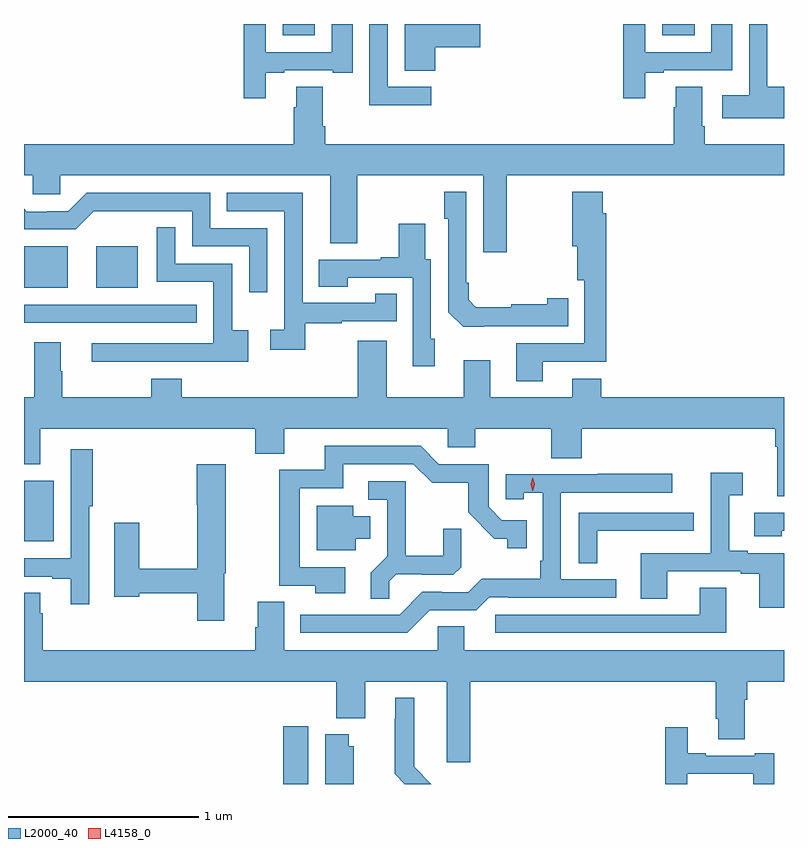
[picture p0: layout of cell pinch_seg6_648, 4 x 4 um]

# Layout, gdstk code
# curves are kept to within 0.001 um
import gdstk
lib = gdstk.Library(unit=1e-6, precision=1e-09)
def R(c, l, rs):  # rectangles x0, y0, x1, y1
    for r in rs: c.add(gdstk.rectangle(r[:2], r[2:], *l))
def P(c, l, *ps):  # polygons
    for p in ps: c.add(gdstk.Polygon(p, *l))
L2000_40 = (2000, 40)
L4158_0 = (4158, 0)

pinch_seg6_648 = lib.new_cell('pinch_seg6_648')
R(pinch_seg6_648, L2000_40, [(491.48,940.137,491.611,940.441), (490.116,941.414,490.273,941.734), (490.116,942.749,490.345,942.967), (490.496,942.749,490.714,942.967), (491.477,944.078,491.647,944.137), (493.475,944.078,493.645,944.137)])
P(pinch_seg6_648, L2000_40, [(494.116,943.806),(494.028,943.806),(494.028,944.137),(493.932,944.137),(493.932,943.762),(493.791,943.762),(493.791,943.64),(494.116,943.64)],
  [(492.281,944.015),(492.517,944.015),(492.517,944.137),(492.119,944.137),(492.119,943.891),(492.281,943.891)],
  [(493.387,943.881),(493.483,943.881),(493.483,943.893),(493.843,943.893),(493.843,944.137),(493.733,944.137),(493.733,943.989),(493.386,943.989),(493.386,944.137),(493.27,944.137),(493.27,943.746),(493.387,943.746)],
  [(491.389,943.881),(491.485,943.881),(491.485,943.893),(491.741,943.893),(491.741,943.881),(491.845,943.881),(491.845,944.137),(491.735,944.137),(491.735,943.989),(491.388,943.989),(491.388,944.137),(491.272,944.137),(491.272,943.746),(491.389,943.746)],
  [(492.259,943.806),(492.03,943.806),(492.03,944.137),(491.934,944.137),(491.934,943.709),(492.259,943.709)],
  [(492.657,943.34),(494.116,943.34),(494.116,943.504),(493.7,943.504),(493.7,943.6),(493.687,943.6),(493.687,943.808),(493.547,943.808),(493.547,943.7),(493.535,943.7),(493.535,943.504),(491.702,943.504),(491.702,943.6),(491.689,943.6),(491.689,943.808),(491.549,943.808),(491.549,943.7),(491.537,943.7),(491.537,943.504),(490.116,943.504),(490.116,943.34),(490.163,943.34),(490.163,943.242),(490.308,943.242),(490.308,943.34),(491.729,943.34),(491.729,942.982),(491.869,942.982),(491.869,943.34),(492.533,943.34),(492.533,942.936),(492.657,942.936)],
  [(492.847,942.36),(493.181,942.36),(493.181,943.142),(493.162,943.142),(493.162,943.255),(493.001,943.255),(493.001,942.968),(493.027,942.968),(493.027,942.788),(493.065,942.788),(493.065,942.456),(492.707,942.456),(492.707,942.258),(492.847,942.258)],
  [(492.538,942.546),(492.98,942.546),(492.98,942.694),(492.869,942.694),(492.869,942.662),(492.68,942.662),(492.68,942.647),(492.494,942.647),(492.456,942.685),(492.456,942.775),(492.444,942.775),(492.444,943.255),(492.328,943.255),(492.328,943.113),(492.348,943.113),(492.348,942.621),(492.427,942.543),(492.538,942.543)],
  [(491.596,942.561),(491.789,942.561),(491.789,942.573),(492.077,942.573),(492.077,942.716),(491.965,942.716),(491.965,942.669),(491.583,942.669),(491.583,942.994),(491.584,942.994),(491.584,943.248),(491.182,943.248),(491.182,943.152),(491.487,943.152),(491.487,942.528),(491.412,942.528),(491.412,942.423),(491.596,942.423)],
  [(491.397,943.062),(491.097,943.062),(491.097,943.248),(490.446,943.248),(490.35,943.152),(490.239,943.152),(490.239,943.149),(490.131,943.149),(490.116,943.164),(490.116,943.056),(490.388,943.056),(490.483,943.151),(491.001,943.152),(491.001,942.966),(491.301,942.966),(491.301,942.726),(491.397,942.726)],
  [(492.277,942.48),(492.258,942.48),(492.258,942.898),(492.229,942.898),(492.229,943.087),(492.089,943.087),(492.089,942.91),(491.993,942.91),(491.993,942.897),(491.668,942.897),(491.668,942.754),(491.82,942.754),(491.82,942.801),(492.162,942.801),(492.162,942.336),(492.277,942.336)],
  [(490.697,942.36),(491.029,942.36),(491.029,942.359),(491.296,942.359),(491.296,942.526),(491.212,942.526),(491.212,942.876),(490.911,942.876),(490.911,943.067),(490.815,943.067),(490.815,942.78),(491.111,942.78),(491.111,942.456),(490.473,942.456),(490.473,942.359),(490.697,942.359)],
  [(491.026,942.659),(490.919,942.659),(490.919,942.66),(490.116,942.66),(490.116,942.564),(491.026,942.564)],
  [(494.116,942.172),(493.154,942.172),(493.154,942.271),(493.001,942.271),(493.001,942.172),(492.571,942.172),(492.571,942.367),(492.431,942.367),(492.431,942.172),(492.025,942.172),(492.025,942.469),(491.873,942.469),(491.873,942.172),(490.946,942.172),(490.946,942.271),(490.786,942.271),(490.786,942.172),(490.317,942.172),(490.317,942.309),(490.309,942.309),(490.309,942.463),(490.169,942.463),(490.169,942.172),(490.116,942.172),(490.116,941.819),(490.201,941.819),(490.201,942.008),(491.333,942.008),(491.333,941.875),(491.485,941.875),(491.485,942.008),(492.345,942.008),(492.345,941.91),(492.492,941.91),(492.492,942.008),(492.892,942.008),(492.892,941.851),(493.052,941.851),(493.052,942.008),(494.069,942.008),(494.069,941.912),(494.081,941.912),(494.081,941.652),(494.116,941.652)],
  [(491.806,941.277),(491.568,941.277),(491.568,941.694),(491.797,941.694),(491.797,941.82),(492.165,941.82),(492.264,941.722),(492.453,941.722),(492.453,941.566),(492.59,941.429),(492.66,941.429),(492.66,941.379),(492.761,941.379),(492.761,941.526),(492.63,941.526),(492.561,941.595),(492.561,941.82),(492.3,941.82),(492.204,941.916),(491.699,941.916),(491.699,941.79),(491.46,941.79),(491.46,941.181),(491.65,941.181),(491.65,941.141),(491.806,941.141)],
  [(490.459,941.599),(490.478,941.599),(490.478,941.899),(490.362,941.899),(490.362,941.325),(490.116,941.325),(490.116,941.229),(490.265,941.229),(490.265,941.217),(490.361,941.217),(490.361,941.082),(490.459,941.082)],
  [(491.17,941.247),(491.178,941.247),(491.178,941.821),(491.024,941.821),(491.024,941.608),(491.029,941.608),(491.029,941.27),(490.722,941.27),(490.722,941.512),(490.592,941.512),(490.592,941.123),(490.722,941.123),(490.722,941.142),(491.029,941.142),(491.029,940.995),(491.17,940.995)],
  [(494.116,941.352),(493.924,941.352),(493.924,941.365),(493.828,941.365),(493.828,941.656),(493.9,941.656),(493.9,941.776),(493.731,941.776),(493.731,941.352),(493.361,941.352),(493.361,941.113),(493.501,941.113),(493.501,941.256),(493.889,941.256),(493.889,941.244),(493.985,941.244),(493.985,941.064),(494.116,941.064)],
  [(492.252,941.052),(492.495,941.052),(492.564,941.121),(492.664,941.121),(492.664,941.118),(493.234,941.118),(493.234,941.214),(492.942,941.214),(492.942,941.67),(493.528,941.67),(493.528,941.769),(493.135,941.769),(493.135,941.766),(492.651,941.766),(492.651,941.637),(492.747,941.637),(492.747,941.669),(492.846,941.669),(492.846,941.311),(492.834,941.311),(492.834,941.218),(492.526,941.218),(492.453,941.145),(492.314,941.145),(492.314,941.148),(492.213,941.148),(492.093,941.028),(491.57,941.028),(491.57,940.932),(492.132,940.932)],
  [(492.039,941.204),(492.076,941.241),(492.21,941.241),(492.21,941.238),(492.375,941.238),(492.416,941.279),(492.416,941.481),(492.322,941.481),(492.322,941.338),(492.125,941.338),(492.125,941.73),(491.928,941.73),(491.928,941.634),(492.027,941.634),(492.027,941.335),(491.941,941.249),(491.941,941.113),(492.039,941.113)],
  [(491.863,941.429),(491.938,941.429),(491.938,941.545),(491.848,941.545),(491.848,941.602),(491.657,941.602),(491.657,941.366),(491.863,941.366)],
  [(493.134,941.469),(493.529,941.469),(493.529,941.47),(493.642,941.47),(493.642,941.565),(493.035,941.565),(493.035,941.299),(493.134,941.299)],
  [(494.103,941.469),(494.116,941.469),(494.116,941.565),(493.959,941.565),(493.959,941.441),(494.103,941.441)],
  [(493.813,941.171),(493.673,941.171),(493.673,941.028),(492.597,941.028),(492.597,940.932),(493.813,940.932)],
  [(492.464,940.676),(493.757,940.676),(493.757,940.48),(493.769,940.48),(493.769,940.372),(493.909,940.372),(493.909,940.58),(493.922,940.58),(493.922,940.676),(494.116,940.676),(494.116,940.84),(492.433,940.84),(492.433,940.967),(492.294,940.967),(492.294,940.84),(491.485,940.84),(491.485,941.096),(491.345,941.096),(491.345,940.962),(491.333,940.962),(491.333,940.84),(490.214,940.84),(490.214,941.036),(490.201,941.036),(490.201,941.144),(490.116,941.144),(490.116,940.676),(491.759,940.676),(491.759,940.484),(491.911,940.484),(491.911,940.676),(492.341,940.676),(492.341,940.251),(492.464,940.251)],
  [(492.169,940.228),(492.169,940.591),(492.071,940.591),(492.071,940.481),(492.067,940.481),(492.067,940.19),(492.12,940.137),(492.26,940.137)],
  [(493.608,940.191),(493.955,940.191),(493.955,940.137),(494.065,940.137),(494.065,940.3),(493.961,940.3),(493.961,940.287),(493.705,940.287),(493.705,940.3),(493.609,940.3),(493.609,940.435),(493.492,940.435),(493.492,940.137),(493.608,940.137)],
  [(491.851,940.335),(491.824,940.335),(491.824,940.399),(491.702,940.399),(491.702,940.137),(491.851,940.137)])
P(pinch_seg6_648, L4158_0, [(492.794,941.679),(492.794,941.679),(492.784,941.715),(492.794,941.75),(492.794,941.751),(492.794,941.75),(492.804,941.715),(492.794,941.679)])

lib.write_gds('pinch_seg6_648.gds')
